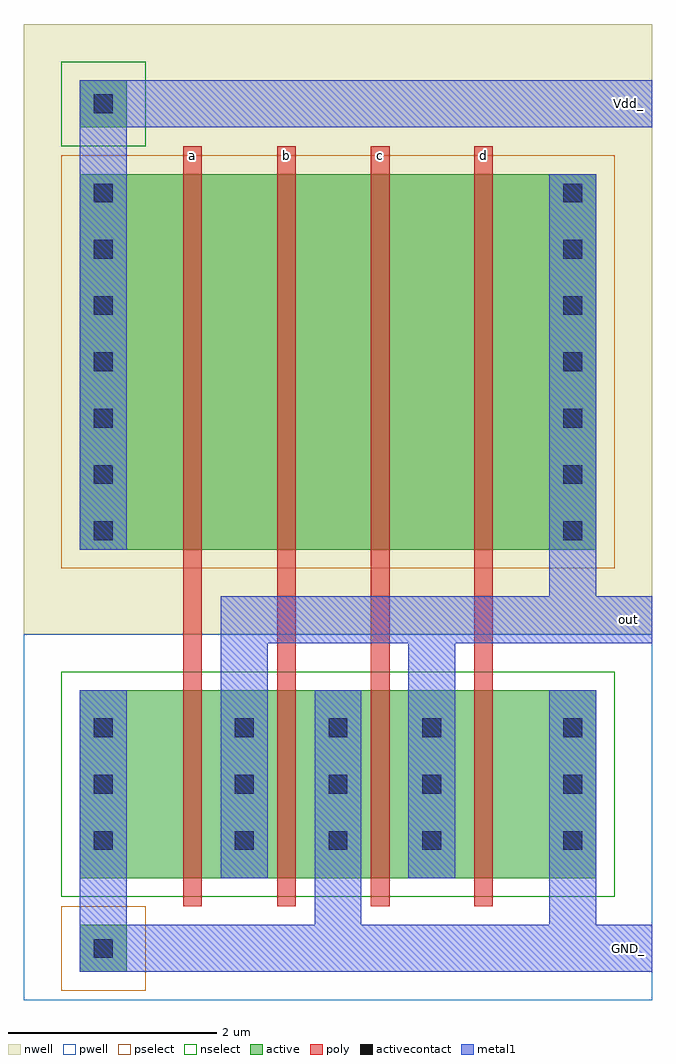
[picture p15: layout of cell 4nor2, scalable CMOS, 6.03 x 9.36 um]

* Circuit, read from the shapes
.subckt 4nor2 GND_ Vdd_ a b c d out
M1 out a GND_ GND_ nfet w=1.8u l=0.18u
M2 GND_ b out GND_ nfet w=1.8u l=0.18u
M3 out c GND_ GND_ nfet w=1.8u l=0.18u
M4 GND_ d out GND_ nfet w=1.8u l=0.18u
M5 n1 a Vdd_ Vdd_ pfet w=3.6u l=0.18u
M6 n2 b n1 Vdd_ pfet w=3.6u l=0.18u
M7 n3 c n2 Vdd_ pfet w=3.6u l=0.18u
M8 out d n3 Vdd_ pfet w=3.6u l=0.18u
.ends

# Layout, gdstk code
import gdstk
lib = gdstk.Library(unit=1e-6, precision=1e-09)
def R(c, l, rs):  # rectangles x0, y0, x1, y1
    for r in rs: c.add(gdstk.rectangle(r[:2], r[2:], *l))
def A(c, l, x, y, w, h, nx, ny, dx, dy):  # array of equal rectangles
    R(c, l, [(x+i*dx, y+j*dy, x+i*dx+w, y+j*dy+h) for i in range(nx) for j in range(ny)])
pwell = (41, 0)
nwell = (42, 0)
active = (43, 0)
pselect = (44, 0)
nselect = (45, 0)
poly = (46, 0)
activecontact = (48, 0)
metal1 = (49, 0)

c_4nor2 = lib.new_cell('4nor2')
R(c_4nor2, pwell, [(6.12,-2.16,12.15,1.35)])
R(c_4nor2, nwell, [(6.12,1.35,12.15,7.2)])
R(c_4nor2, active, [(6.66,-1.89,7.11,-1.44), (6.66,-0.99,11.61,0.81), (6.66,2.16,11.61,5.76), (6.66,6.21,7.11,6.66)])
R(c_4nor2, pselect, [(6.48,-2.07,7.29,-1.26), (6.48,1.98,11.79,5.94)])
R(c_4nor2, nselect, [(6.48,-1.17,11.79,0.99), (6.48,6.03,7.29,6.84)])
A(c_4nor2, poly, 7.65, -1.26, 0.18, 7.29, 3, 1, 0.9, 0)
R(c_4nor2, poly, [(10.44,-1.26,10.62,6.03)])
A(c_4nor2, activecontact, 6.795, -0.72, 0.18, 0.18, 1, 3, 0, 0.54)
A(c_4nor2, activecontact, 8.145, -0.72, 0.18, 0.18, 3, 3, 0.9, 0.54)
A(c_4nor2, activecontact, 11.295, -0.72, 0.18, 0.18, 1, 3, 0, 0.54)
A(c_4nor2, activecontact, 6.795, 2.25, 0.18, 0.18, 1, 7, 0, 0.54)
A(c_4nor2, activecontact, 11.295, 2.25, 0.18, 0.18, 1, 7, 0, 0.54)
R(c_4nor2, activecontact, [(6.795,-1.755,6.975,-1.575), (6.795,6.345,6.975,6.525)])
A(c_4nor2, metal1, 6.66, -1.44, 0.45, 2.25, 3, 1, 2.25, 0)
R(c_4nor2, metal1, [(6.66,-1.89,12.15,-1.44), (8.01,-0.99,8.46,1.26), (9.81,-0.99,10.26,1.26), (8.01,1.26,12.15,1.71), (11.16,1.71,11.61,5.76), (6.66,2.16,7.11,6.21), (6.66,6.21,12.15,6.66)])
c_4nor2.add(gdstk.Label('a', (7.74,5.94), layer=46, texttype=0))
c_4nor2.add(gdstk.Label('b', (8.64,5.94), layer=46, texttype=0))
c_4nor2.add(gdstk.Label('c', (9.54,5.94), layer=46, texttype=0))
c_4nor2.add(gdstk.Label('d', (10.53,5.94), layer=46, texttype=0))
c_4nor2.add(gdstk.Label('Vdd_', (11.925,6.435), layer=49, texttype=0))
c_4nor2.add(gdstk.Label('out', (11.925,1.485), layer=49, texttype=0))
c_4nor2.add(gdstk.Label('GND_', (11.925,-1.665), layer=49, texttype=0))

lib.write_gds('4nor2.gds')
